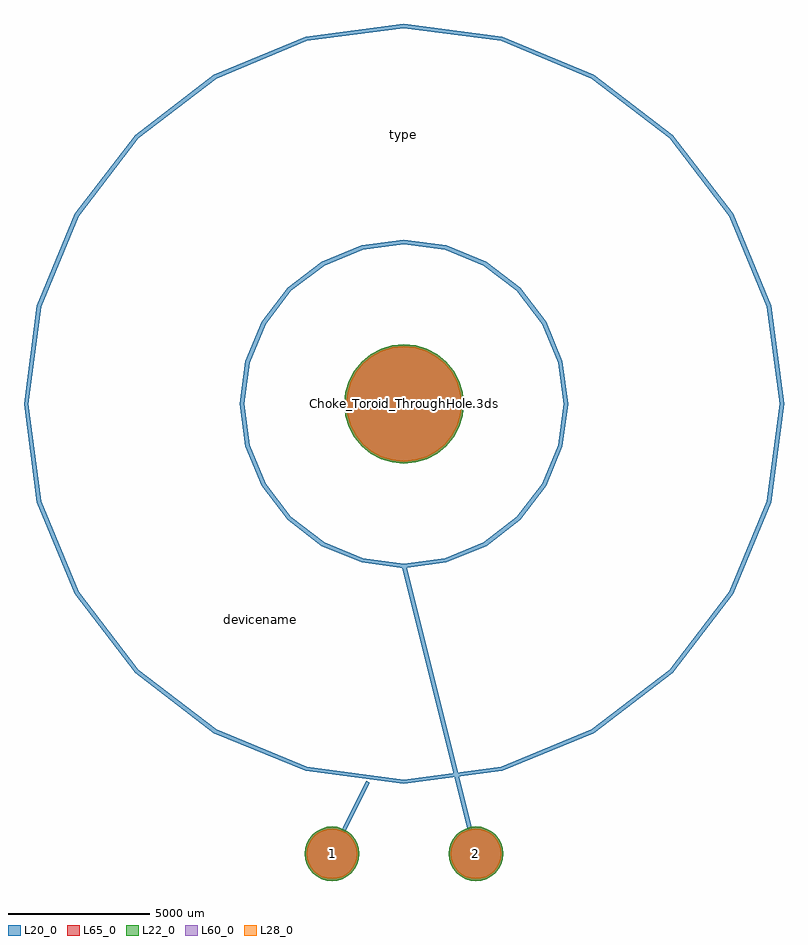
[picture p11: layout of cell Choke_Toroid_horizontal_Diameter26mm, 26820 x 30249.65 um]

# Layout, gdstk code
import gdstk
lib = gdstk.Library(unit=1e-6, precision=1e-09)
def P(c, l, *ps):  # polygons
    for p in ps: c.add(gdstk.Polygon(p, *l))
L20_0 = (20, 0)
L22_0 = (22, 0)
L28_0 = (28, 0)
L60_0 = (60, 0)
L65_0 = (65, 0)

choke_toroid_horizontal_ = lib.new_cell('Choke_Toroid_horizontal_Diameter26mm')
P(choke_toroid_horizontal_, L22_0, [(2107,0),(2066.515,411.055),(1946.614,806.314),(1751.906,1170.586),(1489.874,1489.874),(1170.586,1751.906),(806.314,1946.614),(411.055,2066.515),(0,2107),(-411.055,2066.515),(-806.314,1946.614),(-1170.586,1751.906),(-1489.874,1489.874),(-1751.906,1170.586),(-1946.614,806.314),(-2066.515,411.055),(-2107,0),(-2066.515,-411.055),(-1946.614,-806.314),(-1751.906,-1170.586),(-1489.874,-1489.874),(-1170.586,-1751.906),(-806.314,-1946.614),(-411.055,-2066.515),(0,-2107),(411.055,-2066.515),(806.314,-1946.614),(1170.586,-1751.906),(1489.874,-1489.874),(1751.906,-1170.586),(1946.614,-806.314),(2066.515,-411.055)],
  [(3504,-15875),(3485.477,-15686.933),(3430.62,-15506.093),(3341.537,-15339.43),(3221.651,-15193.349),(3075.57,-15073.463),(2908.907,-14984.38),(2728.067,-14929.523),(2540,-14911),(2351.933,-14929.523),(2171.093,-14984.38),(2004.43,-15073.463),(1858.349,-15193.349),(1738.463,-15339.43),(1649.38,-15506.093),(1594.523,-15686.933),(1576,-15875),(1594.523,-16063.067),(1649.38,-16243.907),(1738.463,-16410.57),(1858.349,-16556.651),(2004.43,-16676.537),(2171.093,-16765.62),(2351.933,-16820.477),(2540,-16839),(2728.067,-16820.477),(2908.907,-16765.62),(3075.57,-16676.537),(3221.651,-16556.651),(3341.537,-16410.57),(3430.62,-16243.907),(3485.477,-16063.067)],
  [(-1576,-15875),(-1594.523,-15686.933),(-1649.38,-15506.093),(-1738.463,-15339.43),(-1858.349,-15193.349),(-2004.43,-15073.463),(-2171.093,-14984.38),(-2351.933,-14929.523),(-2540,-14911),(-2728.067,-14929.523),(-2908.907,-14984.38),(-3075.57,-15073.463),(-3221.651,-15193.349),(-3341.537,-15339.43),(-3430.62,-15506.093),(-3485.477,-15686.933),(-3504,-15875),(-3485.477,-16063.067),(-3430.62,-16243.907),(-3341.537,-16410.57),(-3221.651,-16556.651),(-3075.57,-16676.537),(-2908.907,-16765.62),(-2728.067,-16820.477),(-2540,-16839),(-2351.933,-16820.477),(-2171.093,-16765.62),(-2004.43,-16676.537),(-1858.349,-16556.651),(-1738.463,-16410.57),(-1649.38,-16243.907),(-1594.523,-16063.067)])
P(choke_toroid_horizontal_, L28_0, [(2032,0),(1992.956,396.424),(1877.323,777.613),(1689.546,1128.919),(1436.841,1436.841),(1128.919,1689.546),(777.613,1877.323),(396.424,1992.956),(0,2032),(-396.424,1992.956),(-777.613,1877.323),(-1128.919,1689.546),(-1436.841,1436.841),(-1689.546,1128.919),(-1877.323,777.613),(-1992.956,396.424),(-2032,0),(-1992.956,-396.424),(-1877.323,-777.613),(-1689.546,-1128.919),(-1436.841,-1436.841),(-1128.919,-1689.546),(-777.613,-1877.323),(-396.424,-1992.956),(0,-2032),(396.424,-1992.956),(777.613,-1877.323),(1128.919,-1689.546),(1436.841,-1436.841),(1689.546,-1128.919),(1877.323,-777.613),(1992.956,-396.424)],
  [(3429,-15875),(3411.918,-15701.565),(3361.329,-15534.794),(3279.176,-15381.098),(3168.618,-15246.382),(3033.902,-15135.824),(2880.206,-15053.671),(2713.435,-15003.082),(2540,-14986),(2366.565,-15003.082),(2199.794,-15053.671),(2046.098,-15135.824),(1911.382,-15246.382),(1800.824,-15381.098),(1718.671,-15534.794),(1668.082,-15701.565),(1651,-15875),(1668.082,-16048.435),(1718.671,-16215.206),(1800.824,-16368.902),(1911.382,-16503.618),(2046.098,-16614.176),(2199.794,-16696.329),(2366.565,-16746.918),(2540,-16764),(2713.435,-16746.918),(2880.206,-16696.329),(3033.902,-16614.176),(3168.618,-16503.618),(3279.176,-16368.902),(3361.329,-16215.206),(3411.918,-16048.435)],
  [(-1651,-15875),(-1668.082,-15701.565),(-1718.671,-15534.794),(-1800.824,-15381.098),(-1911.382,-15246.382),(-2046.098,-15135.824),(-2199.794,-15053.671),(-2366.565,-15003.082),(-2540,-14986),(-2713.435,-15003.082),(-2880.206,-15053.671),(-3033.902,-15135.824),(-3168.618,-15246.382),(-3279.176,-15381.098),(-3361.329,-15534.794),(-3411.918,-15701.565),(-3429,-15875),(-3411.918,-16048.435),(-3361.329,-16215.206),(-3279.176,-16368.902),(-3168.618,-16503.618),(-3033.902,-16614.176),(-2880.206,-16696.329),(-2713.435,-16746.918),(-2540,-16764),(-2366.565,-16746.918),(-2199.794,-16696.329),(-2046.098,-16614.176),(-1911.382,-16503.618),(-1800.824,-16368.902),(-1718.671,-16215.206),(-1668.082,-16048.435)])
P(choke_toroid_horizontal_, L60_0, [(2032,0),(1992.956,396.424),(1877.323,777.613),(1689.546,1128.919),(1436.841,1436.841),(1128.919,1689.546),(777.613,1877.323),(396.424,1992.956),(0,2032),(-396.424,1992.956),(-777.613,1877.323),(-1128.919,1689.546),(-1436.841,1436.841),(-1689.546,1128.919),(-1877.323,777.613),(-1992.956,396.424),(-2032,0),(-1992.956,-396.424),(-1877.323,-777.613),(-1689.546,-1128.919),(-1436.841,-1436.841),(-1128.919,-1689.546),(-777.613,-1877.323),(-396.424,-1992.956),(0,-2032),(396.424,-1992.956),(777.613,-1877.323),(1128.919,-1689.546),(1436.841,-1436.841),(1689.546,-1128.919),(1877.323,-777.613),(1992.956,-396.424)],
  [(3429,-15875),(3411.918,-15701.565),(3361.329,-15534.794),(3279.176,-15381.098),(3168.618,-15246.382),(3033.902,-15135.824),(2880.206,-15053.671),(2713.435,-15003.082),(2540,-14986),(2366.565,-15003.082),(2199.794,-15053.671),(2046.098,-15135.824),(1911.382,-15246.382),(1800.824,-15381.098),(1718.671,-15534.794),(1668.082,-15701.565),(1651,-15875),(1668.082,-16048.435),(1718.671,-16215.206),(1800.824,-16368.902),(1911.382,-16503.618),(2046.098,-16614.176),(2199.794,-16696.329),(2366.565,-16746.918),(2540,-16764),(2713.435,-16746.918),(2880.206,-16696.329),(3033.902,-16614.176),(3168.618,-16503.618),(3279.176,-16368.902),(3361.329,-16215.206),(3411.918,-16048.435)],
  [(-1651,-15875),(-1668.082,-15701.565),(-1718.671,-15534.794),(-1800.824,-15381.098),(-1911.382,-15246.382),(-2046.098,-15135.824),(-2199.794,-15053.671),(-2366.565,-15003.082),(-2540,-14986),(-2713.435,-15003.082),(-2880.206,-15053.671),(-3033.902,-15135.824),(-3168.618,-15246.382),(-3279.176,-15381.098),(-3361.329,-15534.794),(-3411.918,-15701.565),(-3429,-15875),(-3411.918,-16048.435),(-3361.329,-16215.206),(-3279.176,-16368.902),(-3168.618,-16503.618),(-3033.902,-16614.176),(-2880.206,-16696.329),(-2713.435,-16746.918),(-2540,-16764),(-2366.565,-16746.918),(-2199.794,-16696.329),(-2046.098,-16614.176),(-1911.382,-16503.618),(-1800.824,-16368.902),(-1718.671,-16215.206),(-1668.082,-16048.435)])
P(choke_toroid_horizontal_, L65_0, [(2107,0),(2066.515,411.055),(1946.614,806.314),(1751.906,1170.586),(1489.874,1489.874),(1170.586,1751.906),(806.314,1946.614),(411.055,2066.515),(0,2107),(-411.055,2066.515),(-806.314,1946.614),(-1170.586,1751.906),(-1489.874,1489.874),(-1751.906,1170.586),(-1946.614,806.314),(-2066.515,411.055),(-2107,0),(-2066.515,-411.055),(-1946.614,-806.314),(-1751.906,-1170.586),(-1489.874,-1489.874),(-1170.586,-1751.906),(-806.314,-1946.614),(-411.055,-2066.515),(0,-2107),(411.055,-2066.515),(806.314,-1946.614),(1170.586,-1751.906),(1489.874,-1489.874),(1751.906,-1170.586),(1946.614,-806.314),(2066.515,-411.055)],
  [(3504,-15875),(3485.477,-15686.933),(3430.62,-15506.093),(3341.537,-15339.43),(3221.651,-15193.349),(3075.57,-15073.463),(2908.907,-14984.38),(2728.067,-14929.523),(2540,-14911),(2351.933,-14929.523),(2171.093,-14984.38),(2004.43,-15073.463),(1858.349,-15193.349),(1738.463,-15339.43),(1649.38,-15506.093),(1594.523,-15686.933),(1576,-15875),(1594.523,-16063.067),(1649.38,-16243.907),(1738.463,-16410.57),(1858.349,-16556.651),(2004.43,-16676.537),(2171.093,-16765.62),(2351.933,-16820.477),(2540,-16839),(2728.067,-16820.477),(2908.907,-16765.62),(3075.57,-16676.537),(3221.651,-16556.651),(3341.537,-16410.57),(3430.62,-16243.907),(3485.477,-16063.067)],
  [(-1576,-15875),(-1594.523,-15686.933),(-1649.38,-15506.093),(-1738.463,-15339.43),(-1858.349,-15193.349),(-2004.43,-15073.463),(-2171.093,-14984.38),(-2351.933,-14929.523),(-2540,-14911),(-2728.067,-14929.523),(-2908.907,-14984.38),(-3075.57,-15073.463),(-3221.651,-15193.349),(-3341.537,-15339.43),(-3430.62,-15506.093),(-3485.477,-15686.933),(-3504,-15875),(-3485.477,-16063.067),(-3430.62,-16243.907),(-3341.537,-16410.57),(-3221.651,-16556.651),(-3075.57,-16676.537),(-2908.907,-16765.62),(-2728.067,-16820.477),(-2540,-16839),(-2351.933,-16820.477),(-2171.093,-16765.62),(-2004.43,-16676.537),(-1858.349,-16556.651),(-1738.463,-16410.57),(-1649.38,-16243.907),(-1594.523,-16063.067)])
choke_toroid_horizontal_.add(gdstk.FlexPath([(-13335,0),(-12880.621,-3451.352),(-11548.449,-6667.5),(-9429.269,-9429.269),(-6667.5,-11548.449),(-3451.352,-12880.621),(0,-13335),(3451.352,-12880.621),(6667.5,-11548.449),(9429.269,-9429.269),(11548.449,-6667.5),(12880.621,-3451.352),(13335,0),(12880.621,3451.352),(11548.449,6667.5),(9429.269,9429.269),(6667.5,11548.449),(3451.352,12880.621),(0,13335),(-3451.352,12880.621),(-6667.5,11548.449),(-9429.269,9429.269),(-11548.449,6667.5),(-12880.621,3451.352),(-13335,0)], 149.998, ends="flush", simple_path=True, layer=20, datatype=0))  # L20_0
choke_toroid_horizontal_.add(gdstk.FlexPath([(5715,0),(5520.266,1479.151),(4949.335,2857.5),(4041.115,4041.115),(2857.5,4949.335),(1479.151,5520.266),(0,5715),(-1479.151,5520.266),(-2857.5,4949.335),(-4041.115,4041.115),(-4949.335,2857.5),(-5520.266,1479.151),(-5715,0),(-5520.266,-1479.151),(-4949.335,-2857.5),(-4041.115,-4041.115),(-2857.5,-4949.335),(-1479.151,-5520.266),(0,-5715),(1479.151,-5520.266),(2857.5,-4949.335),(4041.115,-4041.115),(4949.335,-2857.5),(5520.266,-1479.151),(5715,0)], 149.998, ends="flush", simple_path=True, layer=20, datatype=0))  # L20_0
choke_toroid_horizontal_.add(gdstk.FlexPath([(2540,-15875),(0,-5715)], 149.998, ends="flush", simple_path=True, layer=20, datatype=0))  # L20_0
choke_toroid_horizontal_.add(gdstk.FlexPath([(-2540,-15875),(-1270,-13335)], 149.998, ends="flush", simple_path=True, layer=20, datatype=0))  # L20_0
choke_toroid_horizontal_.add(gdstk.Label('Choke_Toroid_ThroughHole.3dshapes/Choke_Toroid_horizontal_Diameter26mm.wrl', (0,0), layer=12, texttype=0))
choke_toroid_horizontal_.add(gdstk.Label('2', (2540,-15875), layer=28, texttype=0))
choke_toroid_horizontal_.add(gdstk.Label('1', (-2540,-15875), layer=28, texttype=0))
choke_toroid_horizontal_.add(gdstk.Label('type', (0,9525), layer=9, texttype=0))
choke_toroid_horizontal_.add(gdstk.Label('devicename', (-5080,-7620), layer=9, texttype=0))

lib.write_gds('Choke_Toroid_horizontal_Diameter26mm.gds')
